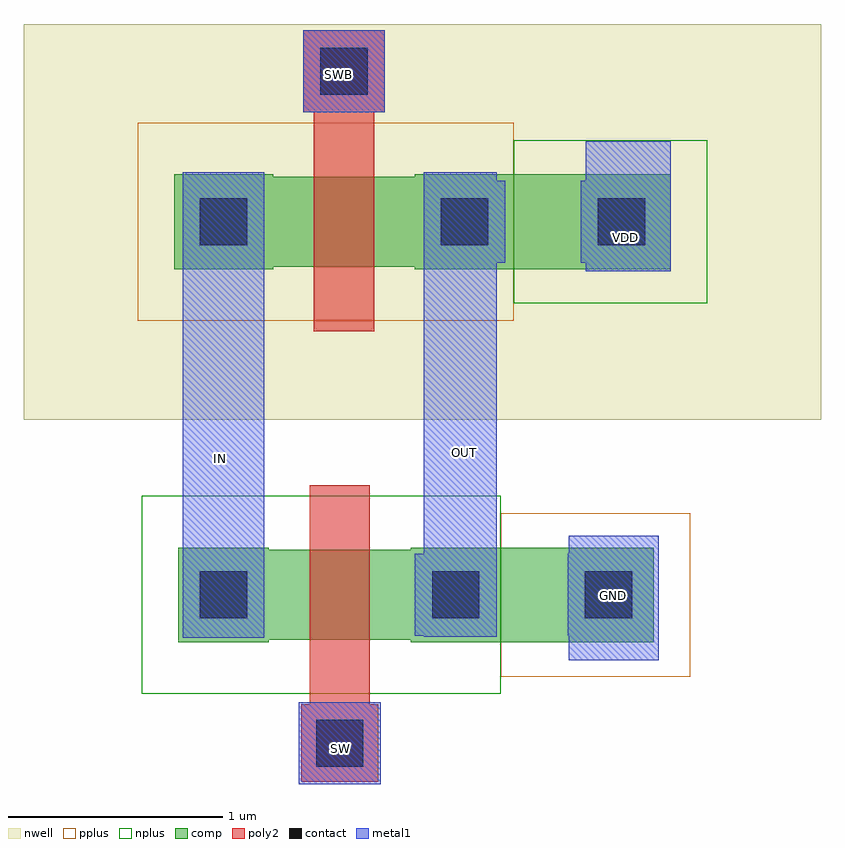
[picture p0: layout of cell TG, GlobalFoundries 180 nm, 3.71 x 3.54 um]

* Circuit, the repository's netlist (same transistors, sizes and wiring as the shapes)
** sch_path: /foss/designs/pixel/TG.sch
.subckt TG In SW SWB VDD GND Out
*.PININFO In:B Out:B SW:B GND:B VDD:B SWB:B
M1 In SW Out GND nfet_03v3 L=0.28u W=0.42u nf=1 m=1
M2 Out SWB In VDD pfet_03v3 L=0.28u W=0.42u nf=1 m=1
.ends

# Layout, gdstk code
import gdstk
lib = gdstk.Library(unit=1e-6, precision=5e-09)
def R(c, l, rs):  # rectangles x0, y0, x1, y1
    for r in rs: c.add(gdstk.rectangle(r[:2], r[2:], *l))
nwell = (21, 0)
comp = (22, 0)
poly2 = (30, 0)
pplus = (31, 0)
nplus = (32, 0)
contact = (33, 0)
metal1 = (34, 0)

nfet_1 = lib.new_cell('nfet$1')
R(nfet_1, comp, [(-0.42,-0.01,0,0.43), (0.66,-0.01,1.08,0.43), (1.08,-0.01,1.79,0.43), (0,0,0.66,0.42)])
R(nfet_1, poly2, [(0.19,-0.3,0.47,0.72), (0.15,0.72,0.51,1.08)])
R(nfet_1, pplus, [(1.08,-0.17,1.96,0.59)])
R(nfet_1, nplus, [(-0.59,-0.25,1.08,0.67)])
R(nfet_1, contact, [(-0.32,0.1,-0.1,0.32), (0.76,0.1,0.98,0.32), (1.47,0.1,1.69,0.32), (0.22,0.79,0.44,1.01)])
R(nfet_1, metal1, [(-0.4,0.02,-0.02,0.4), (0.68,0.02,1.06,0.4), (1.39,0.02,1.77,0.4), (0.14,0.71,0.52,1.09)])

pfet = lib.new_cell('pfet')
R(pfet, nwell, [(-1.16,-0.71,2.55,1.13)])
R(pfet, comp, [(-0.46,-0.01,0,0.43), (0.66,-0.01,1.12,0.43), (1.12,-0.01,1.85,0.43), (0,0,0.66,0.42)])
R(pfet, poly2, [(0.19,-0.3,0.47,0.72), (0.14,0.72,0.52,1.1)])
R(pfet, pplus, [(-0.63,-0.25,1.12,0.67)])
R(pfet, nplus, [(1.12,-0.17,2.02,0.59)])
R(pfet, contact, [(-0.34,0.1,-0.12,0.32), (0.78,0.1,1,0.32), (1.51,0.1,1.73,0.32), (0.22,0.8,0.44,1.02)])
R(pfet, metal1, [(-0.42,0.02,-0.04,0.4), (0.7,0.02,1.08,0.4), (1.43,0.02,1.81,0.4), (0.14,0.72,0.52,1.1)])

c_tg = lib.new_cell('TG')
R(c_tg, metal1, [(-0.015,-0.485,0.405,0.095), (-1.81,-0.38,-1.43,1.785), (-0.69,-0.375,-0.35,1.785), (0.065,1.325,0.46,1.93)])
c_tg.add(gdstk.Reference(nfet_1, (-1.41,0.03), x_reflection=True))
c_tg.add(gdstk.Reference(pfet, (-1.39,1.345)))
c_tg.add(gdstk.Label('VDD', (0.25,1.48), layer=34, texttype=10))
c_tg.add(gdstk.Label('GND', (0.195,-0.185), layer=34, texttype=10))
c_tg.add(gdstk.Label('SWB', (-1.085,2.24), layer=34, texttype=10))
c_tg.add(gdstk.Label('SW', (-1.075,-0.895), layer=34, texttype=10))
c_tg.add(gdstk.Label('IN', (-1.635,0.455), layer=34, texttype=10))
c_tg.add(gdstk.Label('OUT', (-0.5,0.48), layer=34, texttype=10))

lib.write_gds('TG.gds')
